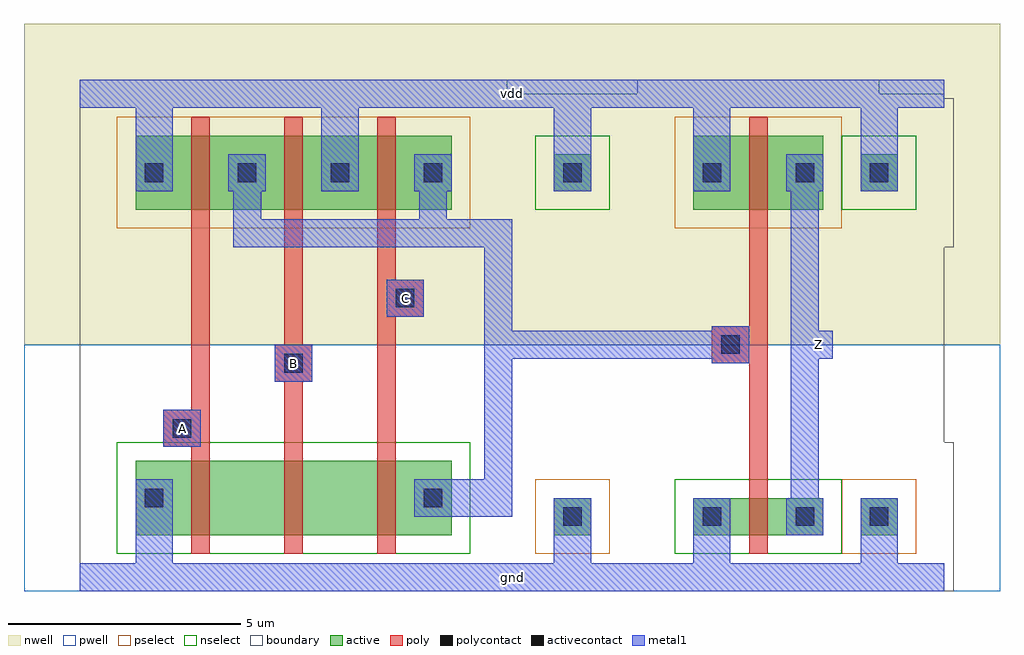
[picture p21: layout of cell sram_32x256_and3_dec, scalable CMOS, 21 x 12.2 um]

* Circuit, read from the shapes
.subckt sram_32x256_and3_dec A B C Z gnd vdd
M1 sram_32x256_pnand3_0/sram_32x256_nmos_m1_w1_600_sm1_dactive_3/D A gnd gnd nfet w=1.6u l=0.4u
M2 sram_32x256_pnand3_0/sram_32x256_nmos_m1_w1_600_sactive_dactive_4/D B sram_32x256_pnand3_0/sram_32x256_nmos_m1_w1_600_sm1_dactive_3/D gnd nfet w=1.6u l=0.4u
M3 sram_32x256_pinv_1/A C sram_32x256_pnand3_0/sram_32x256_nmos_m1_w1_600_sactive_dactive_4/D gnd nfet w=1.6u l=0.4u
M4 Z sram_32x256_pinv_1/A gnd gnd nfet w=0.8u l=0.4u
M5 sram_32x256_pinv_1/A A vdd vdd pfet w=1.6u l=0.4u
M6 vdd B sram_32x256_pinv_1/A vdd pfet w=1.6u l=0.4u
M7 sram_32x256_pinv_1/A C vdd vdd pfet w=1.6u l=0.4u
M8 Z sram_32x256_pinv_1/A vdd vdd pfet w=1.6u l=0.4u
.ends

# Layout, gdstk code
import gdstk
lib = gdstk.Library(unit=1e-6, precision=1e-09)
def R(c, l, rs):  # rectangles x0, y0, x1, y1
    for r in rs: c.add(gdstk.rectangle(r[:2], r[2:], *l))
def A(c, l, x, y, w, h, nx, ny, dx, dy):  # array of equal rectangles
    R(c, l, [(x+i*dx, y+j*dy, x+i*dx+w, y+j*dy+h) for i in range(nx) for j in range(ny)])
pwell = (41, 0)
nwell = (42, 0)
active = (43, 0)
pselect = (44, 0)
nselect = (45, 0)
poly = (46, 0)
polycontact = (47, 0)
activecontact = (48, 0)
metal1 = (49, 0)
boundary = (63, 0)

sram_32x256_contact_12 = lib.new_cell('sram_32x256_contact_12')
R(sram_32x256_contact_12, nwell, [(-1.2,-1.2,2,2)])
R(sram_32x256_contact_12, active, [(0,0,0.8,0.8)])
R(sram_32x256_contact_12, pselect, [(-0.4,-0.4,1.2,1.2)])
R(sram_32x256_contact_12, activecontact, [(0.2,0.2,0.6,0.6)])
R(sram_32x256_contact_12, metal1, [(0,0,0.8,0.8)])
R(sram_32x256_contact_12, boundary, [(-1.2,-1.2,2,2)])

sram_32x256_pmos_m1_w1_6 = lib.new_cell('sram_32x256_pmos_m1_w1_600_sm1_dm1')
R(sram_32x256_pmos_m1_w1_6, nwell, [(-1.2,-1.2,4,2.8)])
R(sram_32x256_pmos_m1_w1_6, active, [(0,0,2.8,1.6)])
R(sram_32x256_pmos_m1_w1_6, pselect, [(-0.4,-0.4,3.2,2)])
R(sram_32x256_pmos_m1_w1_6, poly, [(1.2,-0.4,1.6,2), (1.2,-0.4,1.6,2)])
R(sram_32x256_pmos_m1_w1_6, metal1, [(0,0.4,0.8,1.2), (2,0.4,2.8,1.2)])
R(sram_32x256_pmos_m1_w1_6, boundary, [(-1.2,-1.2,4,2.8)])
sram_32x256_pmos_m1_w1_6.add(gdstk.Reference(sram_32x256_contact_12, (0,0.4)))
sram_32x256_pmos_m1_w1_6.add(gdstk.Reference(sram_32x256_contact_12, (2,0.4)))
sram_32x256_pmos_m1_w1_6.add(gdstk.Label('G', (1.4,0.8), layer=46, texttype=0))
sram_32x256_pmos_m1_w1_6.add(gdstk.Label('S', (0.4,0.8), layer=49, texttype=0))
sram_32x256_pmos_m1_w1_6.add(gdstk.Label('D', (2.4,0.8), layer=49, texttype=0))

sram_32x256_contact_11 = lib.new_cell('sram_32x256_contact_11')
R(sram_32x256_contact_11, pwell, [(-1.2,-1.2,2,2)])
R(sram_32x256_contact_11, active, [(0,0,0.8,0.8)])
R(sram_32x256_contact_11, nselect, [(-0.4,-0.4,1.2,1.2)])
R(sram_32x256_contact_11, activecontact, [(0.2,0.2,0.6,0.6)])
R(sram_32x256_contact_11, metal1, [(0,0,0.8,0.8)])
R(sram_32x256_contact_11, boundary, [(-1.2,-1.2,2,2)])

sram_32x256_nmos_m1_w1_6 = lib.new_cell('sram_32x256_nmos_m1_w1_600_sm1_dactive')
R(sram_32x256_nmos_m1_w1_6, pwell, [(-1.2,-1.2,4,2.8)])
R(sram_32x256_nmos_m1_w1_6, active, [(0,0,2.8,1.6), (2.1,0.5,2.7,1.1)])
R(sram_32x256_nmos_m1_w1_6, nselect, [(-0.4,-0.4,3.2,2)])
R(sram_32x256_nmos_m1_w1_6, poly, [(1.2,-0.4,1.6,2), (1.2,-0.4,1.6,2)])
R(sram_32x256_nmos_m1_w1_6, metal1, [(0,0.4,0.8,1.2)])
R(sram_32x256_nmos_m1_w1_6, boundary, [(-1.2,-1.2,4,2.8)])
sram_32x256_nmos_m1_w1_6.add(gdstk.Reference(sram_32x256_contact_11, (0,0.4)))
sram_32x256_nmos_m1_w1_6.add(gdstk.Label('G', (1.4,0.8), layer=46, texttype=0))
sram_32x256_nmos_m1_w1_6.add(gdstk.Label('S', (0.4,0.8), layer=49, texttype=0))
sram_32x256_nmos_m1_w1_6.add(gdstk.Label('D', (2.4,0.8), layer=43, texttype=0))

c_sram_32x256_nmos_m1_w1_6 = lib.new_cell('sram_32x256_nmos_m1_w1_600_sactive_dactive')
R(c_sram_32x256_nmos_m1_w1_6, pwell, [(-1.2,-1.2,4,2.8)])
R(c_sram_32x256_nmos_m1_w1_6, active, [(0,0,2.8,1.6), (0.1,0.5,0.7,1.1), (2.1,0.5,2.7,1.1)])
R(c_sram_32x256_nmos_m1_w1_6, nselect, [(-0.4,-0.4,3.2,2)])
R(c_sram_32x256_nmos_m1_w1_6, poly, [(1.2,-0.4,1.6,2), (1.2,-0.4,1.6,2)])
R(c_sram_32x256_nmos_m1_w1_6, boundary, [(-1.2,-1.2,4,2.8)])
c_sram_32x256_nmos_m1_w1_6.add(gdstk.Label('G', (1.4,0.8), layer=46, texttype=0))
c_sram_32x256_nmos_m1_w1_6.add(gdstk.Label('S', (0.4,0.8), layer=43, texttype=0))
c_sram_32x256_nmos_m1_w1_6.add(gdstk.Label('D', (2.4,0.8), layer=43, texttype=0))

c_sram_32x256_nmos_m1_w1_6_ = lib.new_cell('sram_32x256_nmos_m1_w1_600_sactive_dm1')
R(c_sram_32x256_nmos_m1_w1_6_, pwell, [(-1.2,-1.2,4,2.8)])
R(c_sram_32x256_nmos_m1_w1_6_, active, [(0,0,2.8,1.6), (0.1,0.5,0.7,1.1)])
R(c_sram_32x256_nmos_m1_w1_6_, nselect, [(-0.4,-0.4,3.2,2)])
R(c_sram_32x256_nmos_m1_w1_6_, poly, [(1.2,-0.4,1.6,2), (1.2,-0.4,1.6,2)])
R(c_sram_32x256_nmos_m1_w1_6_, metal1, [(2,0.4,2.8,1.2)])
R(c_sram_32x256_nmos_m1_w1_6_, boundary, [(-1.2,-1.2,4,2.8)])
c_sram_32x256_nmos_m1_w1_6_.add(gdstk.Reference(sram_32x256_contact_11, (2,0.4)))
c_sram_32x256_nmos_m1_w1_6_.add(gdstk.Label('G', (1.4,0.8), layer=46, texttype=0))
c_sram_32x256_nmos_m1_w1_6_.add(gdstk.Label('S', (0.4,0.8), layer=43, texttype=0))
c_sram_32x256_nmos_m1_w1_6_.add(gdstk.Label('D', (2.4,0.8), layer=49, texttype=0))

sram_32x256_contact_13 = lib.new_cell('sram_32x256_contact_13')
R(sram_32x256_contact_13, nwell, [(-1.2,-1.2,2,2)])
R(sram_32x256_contact_13, active, [(0,0,0.8,0.8)])
R(sram_32x256_contact_13, nselect, [(-0.4,-0.4,1.2,1.2)])
R(sram_32x256_contact_13, activecontact, [(0.2,0.2,0.6,0.6)])
R(sram_32x256_contact_13, metal1, [(0,0,0.8,0.8)])
R(sram_32x256_contact_13, boundary, [(-1.2,-1.2,2,2)])

sram_32x256_contact_14 = lib.new_cell('sram_32x256_contact_14')
R(sram_32x256_contact_14, pwell, [(-1.2,-1.2,2,2)])
R(sram_32x256_contact_14, active, [(0,0,0.8,0.8)])
R(sram_32x256_contact_14, pselect, [(-0.4,-0.4,1.2,1.2)])
R(sram_32x256_contact_14, activecontact, [(0.2,0.2,0.6,0.6)])
R(sram_32x256_contact_14, metal1, [(0,0,0.8,0.8)])
R(sram_32x256_contact_14, boundary, [(-1.2,-1.2,2,2)])

sram_32x256_contact_15 = lib.new_cell('sram_32x256_contact_15')
R(sram_32x256_contact_15, poly, [(0,0,0.8,0.8)])
R(sram_32x256_contact_15, polycontact, [(0.2,0.2,0.6,0.6)])
R(sram_32x256_contact_15, metal1, [(0,0,0.8,0.8)])
R(sram_32x256_contact_15, boundary, [(0,0,0.8,0.8)])

sram_32x256_pnand3 = lib.new_cell('sram_32x256_pnand3')
R(sram_32x256_pnand3, pwell, [(-1.2,-0.3,13.2,5)])
R(sram_32x256_pnand3, nwell, [(-1.2,5,13.2,11.9)])
A(sram_32x256_pnand3, poly, 2.4, 2.9, 0.4, 4.6, 3, 1, 2, 0)
R(sram_32x256_pnand3, poly, [(2.2,2.8,2.4,3.6), (4.4,4.2,4.6,5), (6.4,5.6,7,6.4)])
R(sram_32x256_pnand3, metal1, [(0,-0.3,12,0.3), (1.2,-0.3,2,1.3), (10.2,0,11,1.3), (7.6,1.3,9,2.1), (8.7,1.3,9.3,7.4), (1.8,2.8,2.6,3.6), (4.2,4.2,5,5), (6.6,5.6,7.4,6.4), (3.3,7.1,3.9,7.7), (3.6,7.1,9,7.7), (7.3,7.1,7.9,7.7), (7.6,7.1,9,7.7), (8.7,7.1,9.3,7.7), (3.3,7.4,3.9,8.7), (7.3,7.4,7.9,8.7), (1.2,8.3,2,10.7), (5.2,8.3,6,10.7), (10.2,8.7,11,10.4), (0,10.1,12,10.7)])
R(sram_32x256_pnand3, boundary, [(0,0,12,10.4), (0,0,12,10.4)])
sram_32x256_pnand3.add(gdstk.Reference(sram_32x256_pmos_m1_w1_6, (1.2,7.9)))
sram_32x256_pnand3.add(gdstk.Reference(sram_32x256_pmos_m1_w1_6, (3.2,7.9)))
sram_32x256_pnand3.add(gdstk.Reference(sram_32x256_pmos_m1_w1_6, (5.2,7.9)))
sram_32x256_pnand3.add(gdstk.Reference(sram_32x256_nmos_m1_w1_6, (1.2,0.9)))
sram_32x256_pnand3.add(gdstk.Reference(c_sram_32x256_nmos_m1_w1_6, (3.2,0.9)))
sram_32x256_pnand3.add(gdstk.Reference(c_sram_32x256_nmos_m1_w1_6_, (5.2,0.9)))
sram_32x256_pnand3.add(gdstk.Reference(sram_32x256_contact_13, (10.2,8.3)))
sram_32x256_pnand3.add(gdstk.Reference(sram_32x256_contact_14, (10.2,0.9)))
sram_32x256_pnand3.add(gdstk.Reference(sram_32x256_contact_15, (1.8,2.8)))
sram_32x256_pnand3.add(gdstk.Reference(sram_32x256_contact_15, (4.2,4.2)))
sram_32x256_pnand3.add(gdstk.Reference(sram_32x256_contact_15, (6.6,5.6)))
sram_32x256_pnand3.add(gdstk.Label('A', (2.2,3.2), layer=49, texttype=0))
sram_32x256_pnand3.add(gdstk.Label('B', (4.6,4.6), layer=49, texttype=0))
sram_32x256_pnand3.add(gdstk.Label('C', (7,6), layer=49, texttype=0))
sram_32x256_pnand3.add(gdstk.Label('Z', (9,7.4), layer=49, texttype=0))
sram_32x256_pnand3.add(gdstk.Label('gnd', (6,0), layer=49, texttype=0))
sram_32x256_pnand3.add(gdstk.Label('vdd', (6,10.4), layer=49, texttype=0))

c_sram_32x256_pmos_m1_w1_6 = lib.new_cell('sram_32x256_pmos_m1_w1_600_sm1_dm1_da_p')
R(c_sram_32x256_pmos_m1_w1_6, nwell, [(-1.2,-1.2,4,2.8)])
R(c_sram_32x256_pmos_m1_w1_6, active, [(0,0,2.8,1.6)])
R(c_sram_32x256_pmos_m1_w1_6, pselect, [(-0.4,-0.4,3.2,2)])
R(c_sram_32x256_pmos_m1_w1_6, poly, [(1.2,-0.4,1.6,2), (1.2,-0.4,1.6,2)])
R(c_sram_32x256_pmos_m1_w1_6, metal1, [(0,0.4,0.8,1.2), (2,0.4,2.8,1.2)])
R(c_sram_32x256_pmos_m1_w1_6, boundary, [(-1.2,-1.2,4,2.8)])
c_sram_32x256_pmos_m1_w1_6.add(gdstk.Reference(sram_32x256_contact_12, (0,0.4)))
c_sram_32x256_pmos_m1_w1_6.add(gdstk.Reference(sram_32x256_contact_12, (2,0.4)))
c_sram_32x256_pmos_m1_w1_6.add(gdstk.Label('G', (1.4,0.8), layer=46, texttype=0))
c_sram_32x256_pmos_m1_w1_6.add(gdstk.Label('S', (0.4,0.8), layer=49, texttype=0))
c_sram_32x256_pmos_m1_w1_6.add(gdstk.Label('D', (2.4,0.8), layer=49, texttype=0))

sram_32x256_nmos_m1_w0_8 = lib.new_cell('sram_32x256_nmos_m1_w0_800_sm1_dm1_da_p')
R(sram_32x256_nmos_m1_w0_8, pwell, [(-1.2,-1.2,4,2)])
R(sram_32x256_nmos_m1_w0_8, active, [(0,0,2.8,0.8)])
R(sram_32x256_nmos_m1_w0_8, nselect, [(-0.4,-0.4,3.2,1.2)])
R(sram_32x256_nmos_m1_w0_8, poly, [(1.2,-0.4,1.6,1.2), (1.2,-0.4,1.6,1.2)])
R(sram_32x256_nmos_m1_w0_8, metal1, [(0,0,0.8,0.8), (2,0,2.8,0.8)])
R(sram_32x256_nmos_m1_w0_8, boundary, [(-1.2,-1.2,4,2)])
sram_32x256_nmos_m1_w0_8.add(gdstk.Reference(sram_32x256_contact_11, (0,0)))
sram_32x256_nmos_m1_w0_8.add(gdstk.Reference(sram_32x256_contact_11, (2,0)))
sram_32x256_nmos_m1_w0_8.add(gdstk.Label('G', (1.4,0.4), layer=46, texttype=0))
sram_32x256_nmos_m1_w0_8.add(gdstk.Label('S', (0.4,0.4), layer=49, texttype=0))
sram_32x256_nmos_m1_w0_8.add(gdstk.Label('D', (2.4,0.4), layer=49, texttype=0))

sram_32x256_pinv = lib.new_cell('sram_32x256_pinv')
R(sram_32x256_pinv, pwell, [(-1.2,-0.3,7.8,5)])
R(sram_32x256_pinv, nwell, [(-1.2,5,7.8,11.9)])
R(sram_32x256_pinv, poly, [(2.4,2.1,2.8,7.5), (2,4.6,2.4,5.4)])
R(sram_32x256_pinv, metal1, [(0,-0.3,6.6,0.3), (1.2,-0.3,2,0.9), (4.8,0,5.6,1.3), (3.3,0.9,3.9,9.1), (1.6,4.6,2.4,5.4), (3.6,4.7,4.2,5.3), (1.2,8.3,2,10.7), (4.8,8.7,5.6,10.4), (0,10.1,6.6,10.7)])
R(sram_32x256_pinv, boundary, [(0,0,6.6,10.4), (0,0,6.6,10.4)])
sram_32x256_pinv.add(gdstk.Reference(c_sram_32x256_pmos_m1_w1_6, (1.2,7.9)))
sram_32x256_pinv.add(gdstk.Reference(sram_32x256_nmos_m1_w0_8, (1.2,0.9)))
sram_32x256_pinv.add(gdstk.Reference(sram_32x256_contact_13, (4.8,8.3)))
sram_32x256_pinv.add(gdstk.Reference(sram_32x256_contact_14, (4.8,0.9)))
sram_32x256_pinv.add(gdstk.Reference(sram_32x256_contact_15, (1.6,4.6)))
sram_32x256_pinv.add(gdstk.Label('A', (2,5), layer=49, texttype=0))
sram_32x256_pinv.add(gdstk.Label('Z', (3.9,5), layer=49, texttype=0))
sram_32x256_pinv.add(gdstk.Label('gnd', (3.3,0), layer=49, texttype=0))
sram_32x256_pinv.add(gdstk.Label('vdd', (3.3,10.4), layer=49, texttype=0))

sram_32x256_and3_dec = lib.new_cell('sram_32x256_and3_dec')
R(sram_32x256_and3_dec, metal1, [(0,-0.3,18.6,0.3), (1.8,2.8,2.6,3.6), (4.2,4.2,5,5), (8.7,4.7,9.3,5.3), (9,4.7,14,5.3), (15.6,4.7,16.2,5.3), (8.7,5,9.3,7.4), (6.6,5.6,7.4,6.4), (0,10.1,18.6,10.7)])
R(sram_32x256_and3_dec, boundary, [(0,0,18.6,10.4)])
sram_32x256_and3_dec.add(gdstk.Reference(sram_32x256_pnand3, (0,0)))
sram_32x256_and3_dec.add(gdstk.Reference(sram_32x256_pinv, (12,0)))
sram_32x256_and3_dec.add(gdstk.Label('Z', (15.9,5), layer=49, texttype=0))
sram_32x256_and3_dec.add(gdstk.Label('A', (2.2,3.2), layer=49, texttype=0))
sram_32x256_and3_dec.add(gdstk.Label('B', (4.6,4.6), layer=49, texttype=0))
sram_32x256_and3_dec.add(gdstk.Label('C', (7,6), layer=49, texttype=0))
sram_32x256_and3_dec.add(gdstk.Label('gnd', (9.3,0), layer=49, texttype=0))
sram_32x256_and3_dec.add(gdstk.Label('vdd', (9.3,10.4), layer=49, texttype=0))

lib.write_gds('sram_32x256_and3_dec.gds')
